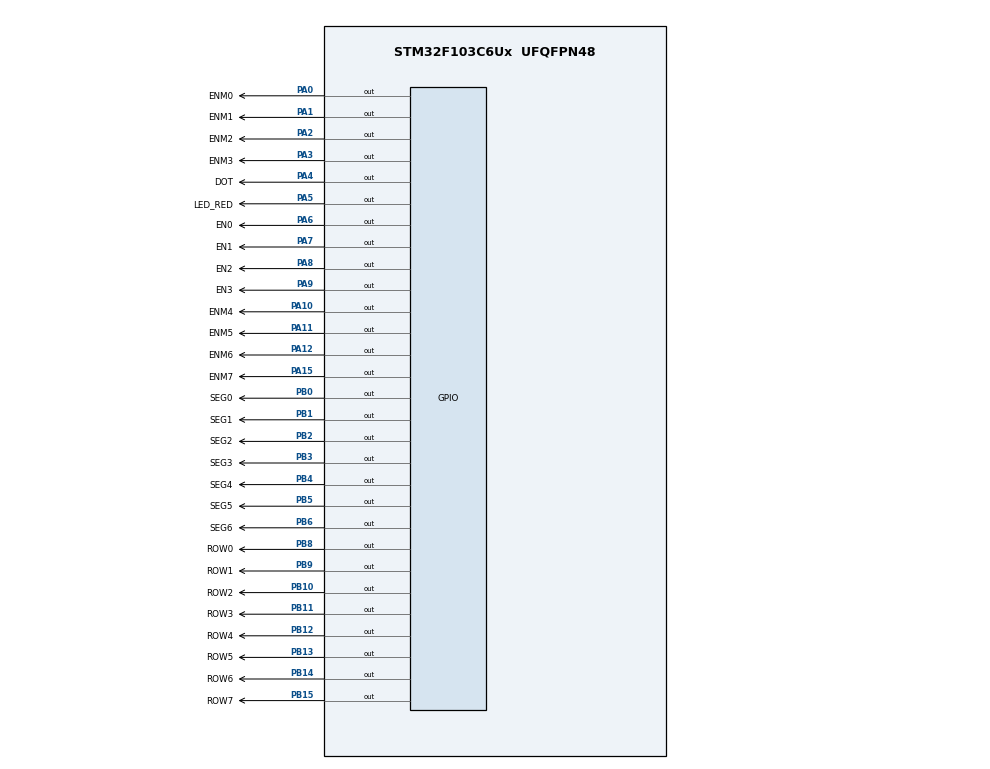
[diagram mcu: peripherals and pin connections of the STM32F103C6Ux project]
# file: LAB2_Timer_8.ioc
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Mcu.Family=STM32F1
Mcu.Name=STM32F103C6Ux
Mcu.Package=UFQFPN48
NVIC.PriorityGroup=NVIC_PRIORITYGROUP_4
NVIC.TIM2_IRQn=true\:0\:0\:false\:false\:true\:true\:true
PA0-WKUP.GPIO_Label=ENM0
PA0-WKUP.Signal=GPIO_Output
PA1.GPIO_Label=ENM1
PA1.Signal=GPIO_Output
PA10.GPIO_Label=ENM4
PA10.Signal=GPIO_Output
PA11.GPIO_Label=ENM5
PA11.Signal=GPIO_Output
PA12.GPIO_Label=ENM6
PA12.Signal=GPIO_Output
PA15.GPIO_Label=ENM7
PA15.Signal=GPIO_Output
PA2.GPIO_Label=ENM2
PA2.Signal=GPIO_Output
PA3.GPIO_Label=ENM3
PA3.Signal=GPIO_Output
PA4.GPIO_Label=DOT
PA4.Signal=GPIO_Output
PA5.GPIO_Label=LED_RED
PA5.Signal=GPIO_Output
PA6.GPIO_Label=EN0
PA6.Signal=GPIO_Output
PA7.GPIO_Label=EN1
PA7.Signal=GPIO_Output
PA8.GPIO_Label=EN2
PA8.Signal=GPIO_Output
PA9.GPIO_Label=EN3
PA9.Signal=GPIO_Output
PB0.GPIO_Label=SEG0
PB0.Signal=GPIO_Output
PB1.GPIO_Label=SEG1
PB1.Signal=GPIO_Output
PB10.GPIO_Label=ROW2
PB10.Signal=GPIO_Output
PB11.GPIO_Label=ROW3
PB11.Signal=GPIO_Output
PB12.GPIO_Label=ROW4
PB12.Signal=GPIO_Output
PB13.GPIO_Label=ROW5
PB13.Signal=GPIO_Output
PB14.GPIO_Label=ROW6
PB14.Signal=GPIO_Output
PB15.GPIO_Label=ROW7
PB15.Signal=GPIO_Output
PB2.GPIO_Label=SEG2
PB2.Signal=GPIO_Output
PB3.GPIO_Label=SEG3
PB3.Signal=GPIO_Output
PB4.GPIO_Label=SEG4
PB4.Signal=GPIO_Output
PB5.GPIO_Label=SEG5
PB5.Signal=GPIO_Output
PB6.GPIO_Label=SEG6
PB6.Signal=GPIO_Output
PB8.GPIO_Label=ROW0
PB8.Signal=GPIO_Output
PB9.GPIO_Label=ROW1
PB9.Signal=GPIO_Output
ProjectManager.HeapSize=0x200
ProjectManager.StackSize=0x400
ProjectManager.TargetToolchain=STM32CubeIDE
RCC.APB1Freq_Value=8000000
RCC.APB2Freq_Value=8000000
TIM2.Period=9
TIM2.Prescaler=7999
VP_SYS_VS_ND.Mode=No_Debug
VP_TIM2_VS_ClockSourceINT.Mode=Internal
board=custom

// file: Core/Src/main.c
/* USER CODE BEGIN Header */
/* USER CODE END Header */
#include "main.h"

TIM_HandleTypeDef htim2;

void SystemClock_Config(void);
static void MX_GPIO_Init(void);
static void MX_TIM2_Init(void);

/* USER CODE BEGIN 0 */

uint8_t segTable[10][7] = {
    // a  b  c  d  e  f  g
    {  0, 0, 0, 0, 0, 0, 1 },   // 0
    {  1, 0, 0, 1, 1, 1, 1 },   // 1
    {  0, 0, 1, 0, 0, 1, 0 },   // 2
    {  0, 0, 0, 0, 1, 1, 0 },   // 3
    {  1, 0, 0, 1, 1, 0, 0 },   // 4
    {  0, 1, 0, 0, 1, 0, 0 },   // 5
    {  0, 1, 0, 0, 0, 0, 0 },   // 6
    {  0, 0, 0, 1, 1, 1, 1 },   // 7
    {  0, 0, 0, 0, 0, 0, 0 },   // 8
    {  0, 0, 0, 0, 1, 0, 0 }    // 9
};

void display7SEG(int num) {
    HAL_GPIO_WritePin(SEG0_GPIO_Port, SEG0_Pin, segTable[num][0]);
    HAL_GPIO_WritePin(SEG1_GPIO_Port, SEG1_Pin, segTable[num][1]);
    HAL_GPIO_WritePin(SEG2_GPIO_Port, SEG2_Pin, segTable[num][2]);
    HAL_GPIO_WritePin(SEG3_GPIO_Port, SEG3_Pin, segTable[num][3]);
    HAL_GPIO_WritePin(SEG4_GPIO_Port, SEG4_Pin, segTable[num][4]);
    HAL_GPIO_WritePin(SEG5_GPIO_Port, SEG5_Pin, segTable[num][5]);
    HAL_GPIO_WritePin(SEG6_GPIO_Port, SEG6_Pin, segTable[num][6]);
}

void turnOffAll7SEG(void) {
    HAL_GPIO_WritePin(EN0_GPIO_Port, EN0_Pin | EN1_Pin | EN2_Pin | EN3_Pin, GPIO_PIN_SET);
}

void turnOn7SEG(int index) {
    switch (index) {
        case 0: HAL_GPIO_WritePin(EN0_GPIO_Port, EN0_Pin, GPIO_PIN_RESET); break;
        case 1: HAL_GPIO_WritePin(EN1_GPIO_Port, EN1_Pin, GPIO_PIN_RESET); break;
        case 2: HAL_GPIO_WritePin(EN2_GPIO_Port, EN2_Pin, GPIO_PIN_RESET); break;
        case 3: HAL_GPIO_WritePin(EN3_GPIO_Port, EN3_Pin, GPIO_PIN_RESET); break;
    }
}

void allOff(void) {
    turnOffAll7SEG();
    HAL_GPIO_WritePin(DOT_GPIO_Port, DOT_Pin, GPIO_PIN_SET);
    HAL_GPIO_WritePin(LED_RED_GPIO_Port, LED_RED_Pin, GPIO_PIN_SET);
}
const int MAX_LED = 4;
int index_led = 0;
int led_buffer[4] = {1, 2, 3, 4};

void update7SEG(int index) {
    turnOffAll7SEG();                     // tắt con đang sáng
    switch (index) {
        case 0: display7SEG(led_buffer[0]); turnOn7SEG(0); break;
        case 1: display7SEG(led_buffer[1]); turnOn7SEG(1); break;
        case 2: display7SEG(led_buffer[2]); turnOn7SEG(2); break;
        case 3: display7SEG(led_buffer[3]); turnOn7SEG(3); break;
        default: break;
    }
}
int hour = 15, minute = 8, second = 50;   //
void updateClockBuffer(void) {
    led_buffer[0] = hour / 10;     // 15 -> 1
    led_buffer[1] = hour % 10;     // 15 -> 5
    led_buffer[2] = minute / 10;   //  8 -> 0  (tự có số 0 phía trước)
    led_buffer[3] = minute % 10;   //  8 -> 8
}

int timer0_counter = 0;
int timer0_flag = 0;
int TIMER_CYCLE = 10;          // chu kỳ ngắt 10ms

void setTimer0(int duration) {
    timer0_counter = duration / TIMER_CYCLE;
    timer0_flag = 0;
}

int timer1_counter = 0;
int timer1_flag = 0;

void setTimer1(int duration) {
    timer1_counter = duration / TIMER_CYCLE;
    timer1_flag = 0;
}

void timer_run(void) {
    if (timer0_counter > 0) {
        timer0_counter--;
        if (timer0_counter == 0) timer0_flag = 1;
    }
    if (timer1_counter > 0) {
        timer1_counter--;
        if (timer1_counter == 0) timer1_flag = 1;
    }
}
/* USER CODE END 0 */

int main(void)
{

  /* MCU Configuration--------------------------------------------------------*/

  /* Reset of all peripherals, Initializes the Flash interface and the Systick. */
  HAL_Init();

  /* Configure the system clock */
  SystemClock_Config();

  /* Initialize all configured peripherals */
  MX_GPIO_Init();
  MX_TIM2_Init();
  /* USER CODE BEGIN 2 */
   allOff();
   HAL_TIM_Base_Start_IT(&htim2);
   /* USER CODE END 2 */

   /* Infinite loop */
   /* USER CODE BEGIN WHILE */
   updateClockBuffer();
   setTimer0(1000);     // đồng hồ + DOT
   setTimer1(250);      // quét 7SEG
   while (1)
   {
       if (timer0_flag == 1) {          // mỗi 1s
           setTimer0(1000);
           HAL_GPIO_TogglePin(DOT_GPIO_Port, DOT_Pin);
           second++;
           if (second >= 60) { second = 0; minute++; }
           if (minute >= 60) { minute = 0; hour++; }
           if (hour >= 24)   { hour = 0; }
           updateClockBuffer();
       }

       if (timer1_flag == 1) {          // mỗi 250ms
           setTimer1(250);
           update7SEG(index_led++);
           if (index_led >= MAX_LED) index_led = 0;
       }
     /* USER CODE END WHILE */

   }
 }

void SystemClock_Config(void)
{
  RCC_OscInitTypeDef RCC_OscInitStruct = {0};
  RCC_ClkInitTypeDef RCC_ClkInitStruct = {0};

  /** Initializes the RCC Oscillators according to the specified parameters
  * in the RCC_OscInitTypeDef structure.
  */
  RCC_OscInitStruct.OscillatorType = RCC_OSCILLATORTYPE_HSI;
  RCC_OscInitStruct.HSIState = RCC_HSI_ON;
  RCC_OscInitStruct.HSICalibrationValue = RCC_HSICALIBRATION_DEFAULT;
  RCC_OscInitStruct.PLL.PLLState = RCC_PLL_NONE;
  if (HAL_RCC_OscConfig(&RCC_OscInitStruct) != HAL_OK)
  {
    Error_Handler();
  }
  /** Initializes the CPU, AHB and APB buses clocks
  */
  RCC_ClkInitStruct.ClockType = RCC_CLOCKTYPE_HCLK|RCC_CLOCKTYPE_SYSCLK
                              |RCC_CLOCKTYPE_PCLK1|RCC_CLOCKTYPE_PCLK2;
  RCC_ClkInitStruct.SYSCLKSource = RCC_SYSCLKSOURCE_HSI;
  RCC_ClkInitStruct.AHBCLKDivider = RCC_SYSCLK_DIV1;
  RCC_ClkInitStruct.APB1CLKDivider = RCC_HCLK_DIV1;
  RCC_ClkInitStruct.APB2CLKDivider = RCC_HCLK_DIV1;

  if (HAL_RCC_ClockConfig(&RCC_ClkInitStruct, FLASH_LATENCY_0) != HAL_OK)
  {
    Error_Handler();
  }
}

static void MX_TIM2_Init(void)
{

  TIM_ClockConfigTypeDef sClockSourceConfig = {0};
  TIM_MasterConfigTypeDef sMasterConfig = {0};

  htim2.Instance = TIM2;
  htim2.Init.Prescaler = 7999;
  htim2.Init.CounterMode = TIM_COUNTERMODE_UP;
  htim2.Init.Period = 9;
  htim2.Init.ClockDivision = TIM_CLOCKDIVISION_DIV1;
  htim2.Init.AutoReloadPreload = TIM_AUTORELOAD_PRELOAD_DISABLE;
  if (HAL_TIM_Base_Init(&htim2) != HAL_OK)
  {
    Error_Handler();
  }
  sClockSourceConfig.ClockSource = TIM_CLOCKSOURCE_INTERNAL;
  if (HAL_TIM_ConfigClockSource(&htim2, &sClockSourceConfig) != HAL_OK)
  {
    Error_Handler();
  }
  sMasterConfig.MasterOutputTrigger = TIM_TRGO_RESET;
  sMasterConfig.MasterSlaveMode = TIM_MASTERSLAVEMODE_DISABLE;
  if (HAL_TIMEx_MasterConfigSynchronization(&htim2, &sMasterConfig) != HAL_OK)
  {
    Error_Handler();
  }

}

static void MX_GPIO_Init(void)
{
  GPIO_InitTypeDef GPIO_InitStruct = {0};

  /* GPIO Ports Clock Enable */
  __HAL_RCC_GPIOA_CLK_ENABLE();
  __HAL_RCC_GPIOB_CLK_ENABLE();

  /*Configure GPIO pin Output Level */
  HAL_GPIO_WritePin(GPIOA, ENM0_Pin|ENM1_Pin|ENM2_Pin|ENM3_Pin
                          |DOT_Pin|LED_RED_Pin|EN0_Pin|EN1_Pin
                          |EN2_Pin|EN3_Pin|ENM4_Pin|ENM5_Pin
                          |ENM6_Pin|ENM7_Pin, GPIO_PIN_RESET);

  /*Configure GPIO pin Output Level */
  HAL_GPIO_WritePin(GPIOB, SEG0_Pin|SEG1_Pin|SEG2_Pin|ROW2_Pin
                          |ROW3_Pin|ROW4_Pin|ROW5_Pin|ROW6_Pin
                          |ROW7_Pin|SEG3_Pin|SEG4_Pin|SEG5_Pin
                          |SEG6_Pin|ROW0_Pin|ROW1_Pin, GPIO_PIN_RESET);

  /*Configure GPIO pins : ENM0_Pin ENM1_Pin ENM2_Pin ENM3_Pin
                           DOT_Pin LED_RED_Pin EN0_Pin EN1_Pin
                           EN2_Pin EN3_Pin ENM4_Pin ENM5_Pin
                           ENM6_Pin ENM7_Pin */
  GPIO_InitStruct.Pin = ENM0_Pin|ENM1_Pin|ENM2_Pin|ENM3_Pin
                          |DOT_Pin|LED_RED_Pin|EN0_Pin|EN1_Pin
                          |EN2_Pin|EN3_Pin|ENM4_Pin|ENM5_Pin
                          |ENM6_Pin|ENM7_Pin;
  GPIO_InitStruct.Mode = GPIO_MODE_OUTPUT_PP;
  GPIO_InitStruct.Pull = GPIO_NOPULL;
  GPIO_InitStruct.Speed = GPIO_SPEED_FREQ_LOW;
  HAL_GPIO_Init(GPIOA, &GPIO_InitStruct);

  /*Configure GPIO pins : SEG0_Pin SEG1_Pin SEG2_Pin ROW2_Pin
                           ROW3_Pin ROW4_Pin ROW5_Pin ROW6_Pin
                           ROW7_Pin SEG3_Pin SEG4_Pin SEG5_Pin
                           SEG6_Pin ROW0_Pin ROW1_Pin */
  GPIO_InitStruct.Pin = SEG0_Pin|SEG1_Pin|SEG2_Pin|ROW2_Pin
                          |ROW3_Pin|ROW4_Pin|ROW5_Pin|ROW6_Pin
                          |ROW7_Pin|SEG3_Pin|SEG4_Pin|SEG5_Pin
                          |SEG6_Pin|ROW0_Pin|ROW1_Pin;
  GPIO_InitStruct.Mode = GPIO_MODE_OUTPUT_PP;
  GPIO_InitStruct.Pull = GPIO_NOPULL;
  GPIO_InitStruct.Speed = GPIO_SPEED_FREQ_LOW;
  HAL_GPIO_Init(GPIOB, &GPIO_InitStruct);

}

/* USER CODE BEGIN 4 */
void HAL_TIM_PeriodElapsedCallback(TIM_HandleTypeDef *htim) {
    if (htim->Instance == TIM2) {
        timer_run();
    }
}
/* USER CODE END 4 */

void Error_Handler(void)
{
}

/************************ (C) COPYRIGHT STMicroelectronics *****END OF FILE****/
